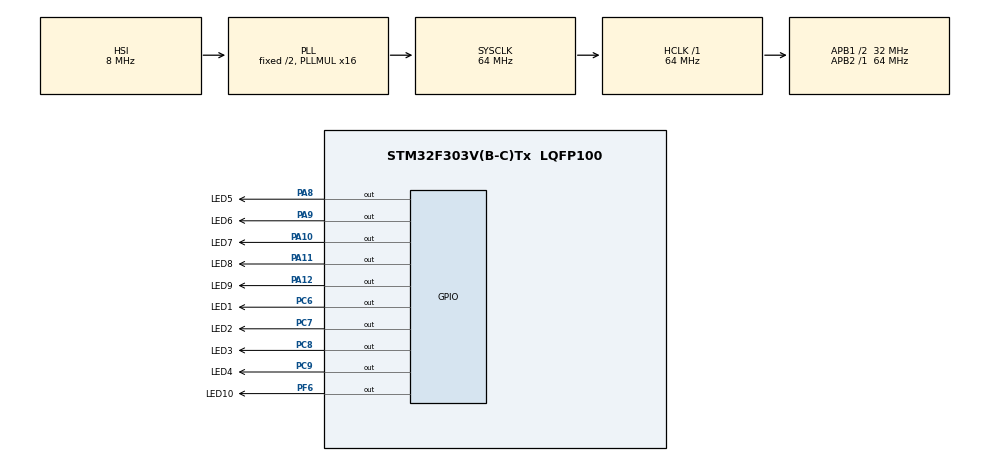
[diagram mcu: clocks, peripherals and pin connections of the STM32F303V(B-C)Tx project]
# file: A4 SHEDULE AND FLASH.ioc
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Mcu.Family=STM32F3
Mcu.Name=STM32F303V(B-C)Tx
Mcu.Package=LQFP100
NVIC.PriorityGroup=NVIC_PRIORITYGROUP_4
PA10.GPIO_Label=LED7
PA10.Signal=GPIO_Output
PA11.GPIO_Label=LED8
PA11.Signal=GPIO_Output
PA12.GPIO_Label=LED9
PA12.Signal=GPIO_Output
PA13.Mode=Serial_Wire
PA13.Signal=SYS_JTMS-SWDIO
PA14.Mode=Serial_Wire
PA14.Signal=SYS_JTCK-SWCLK
PA8.GPIO_Label=LED5
PA8.Signal=GPIO_Output
PA9.GPIO_Label=LED6
PA9.Signal=GPIO_Output
PC6.GPIO_Label=LED1
PC6.Signal=GPIO_Output
PC7.GPIO_Label=LED2
PC7.Signal=GPIO_Output
PC8.GPIO_Label=LED3
PC8.Signal=GPIO_Output
PC9.GPIO_Label=LED4
PC9.Signal=GPIO_Output
PF6.GPIO_Label=LED10
PF6.Signal=GPIO_Output
ProjectManager.HeapSize=0x2000
ProjectManager.StackSize=0x4000
ProjectManager.TargetToolchain=MDK-ARM V5
RCC.AHBFreq_Value=64000000
RCC.APB1CLKDivider=RCC_HCLK_DIV2
RCC.APB1Freq_Value=32000000
RCC.APB1TimFreq_Value=64000000
RCC.APB2Freq_Value=64000000
RCC.APB2TimFreq_Value=64000000
RCC.CortexFreq_Value=64000000
RCC.HCLKFreq_Value=64000000
RCC.HSE_VALUE=8000000
RCC.HSI_VALUE=8000000
RCC.LSE_VALUE=32768
RCC.PLLMUL=RCC_PLL_MUL16
RCC.SYSCLKFreq_VALUE=64000000
RCC.SYSCLKSourceVirtual=RCC_SYSCLKSOURCE_PLLCLK
RCC.USBFreq_Value=64000000
board=custom

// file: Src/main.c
/* USER CODE BEGIN Header */
/**
  ******************************************************************************
  * @file           : main.c
  * @brief          : Main program body
  ******************************************************************************
  * @attention
  *
  * <h2><center>&copy; Copyright (c) 2019 STMicroelectronics.
  * All rights reserved.</center></h2>
  *
  * This software component is licensed by ST under BSD 3-Clause license,
  * the "License"; You may not use this file except in compliance with the
  * License. You may obtain a copy of the License at:
  *                        opensource.org/licenses/BSD-3-Clause
  *
  ******************************************************************************
  */
/* USER CODE END Header */
#include "main.h"
#include "gpio.h"

/* USER CODE BEGIN Includes */
#include "flash.h"
/* USER CODE END Includes */

/* USER CODE BEGIN PV */
uint16_t i;
uint32_t sec=0;
uint32_t min=0;
uint32_t hr=0;
uint32_t x=0;
/* USER CODE END PV */

void SystemClock_Config(void);

int main(void)
{

  /* MCU Configuration--------------------------------------------------------*/

  /* Reset of all peripherals, Initializes the Flash interface and the Systick. */
  HAL_Init();

  /* Configure the system clock */
  SystemClock_Config();

  /* Initialize all configured peripherals */
  MX_GPIO_Init();
  /* USER CODE BEGIN 2 */
	//i = page_erase(1);
	    HAL_GPIO_WritePin(LED1_GPIO_Port,LED1_Pin,1);

			//	uint32_t x=*(__IO uint32_t *)switch_page_address(1);
		//	HAL_Delay(100);
		//uint32_t x=show_data_storein(0x08006000);
		//	HAL_Delay(100);
  /* USER CODE END 2 */

  /* Infinite loop */
  /* USER CODE BEGIN WHILE */
  while (1)
  {

			//HAL_GPIO_TogglePin(LED1_GPIO_Port,LED1_Pin);
		HAL_GPIO_TogglePin(LED2_GPIO_Port,LED2_Pin);
		//HAL_Delay(100);
	//	HAL_GPIO_TogglePin(LD4_GPIO_Port,LD4_Pin);

		if(sec<60)
		{
			HAL_Delay(1000);
			sec++;
     schedule_save_of_switch(1,0x08006000,sec);
			x=*(__IO uint32_t *)switch_page_address(1);
			if(sec==60)
			{
				min++;
				sec=0;
			}
			if(min==60)
			{
				hr++;
				if(hr==12)
					hr=0;
				min=0;
			}
		}

    /* USER CODE END WHILE */

  }
}

void SystemClock_Config(void)
{
  RCC_OscInitTypeDef RCC_OscInitStruct = {0};
  RCC_ClkInitTypeDef RCC_ClkInitStruct = {0};

  /** Initializes the RCC Oscillators according to the specified parameters
  * in the RCC_OscInitTypeDef structure.
  */
  RCC_OscInitStruct.OscillatorType = RCC_OSCILLATORTYPE_HSI;
  RCC_OscInitStruct.HSIState = RCC_HSI_ON;
  RCC_OscInitStruct.HSICalibrationValue = RCC_HSICALIBRATION_DEFAULT;
  RCC_OscInitStruct.PLL.PLLState = RCC_PLL_ON;
  RCC_OscInitStruct.PLL.PLLSource = RCC_PLLSOURCE_HSI;
  RCC_OscInitStruct.PLL.PLLMUL = RCC_PLL_MUL16;
  if (HAL_RCC_OscConfig(&RCC_OscInitStruct) != HAL_OK)
  {
    Error_Handler();
  }

  /** Initializes the CPU, AHB and APB buses clocks
  */
  RCC_ClkInitStruct.ClockType = RCC_CLOCKTYPE_HCLK|RCC_CLOCKTYPE_SYSCLK
                              |RCC_CLOCKTYPE_PCLK1|RCC_CLOCKTYPE_PCLK2;
  RCC_ClkInitStruct.SYSCLKSource = RCC_SYSCLKSOURCE_PLLCLK;
  RCC_ClkInitStruct.AHBCLKDivider = RCC_SYSCLK_DIV1;
  RCC_ClkInitStruct.APB1CLKDivider = RCC_HCLK_DIV2;
  RCC_ClkInitStruct.APB2CLKDivider = RCC_HCLK_DIV1;

  if (HAL_RCC_ClockConfig(&RCC_ClkInitStruct, FLASH_LATENCY_2) != HAL_OK)
  {
    Error_Handler();
  }
}

void Error_Handler(void)
{
}
